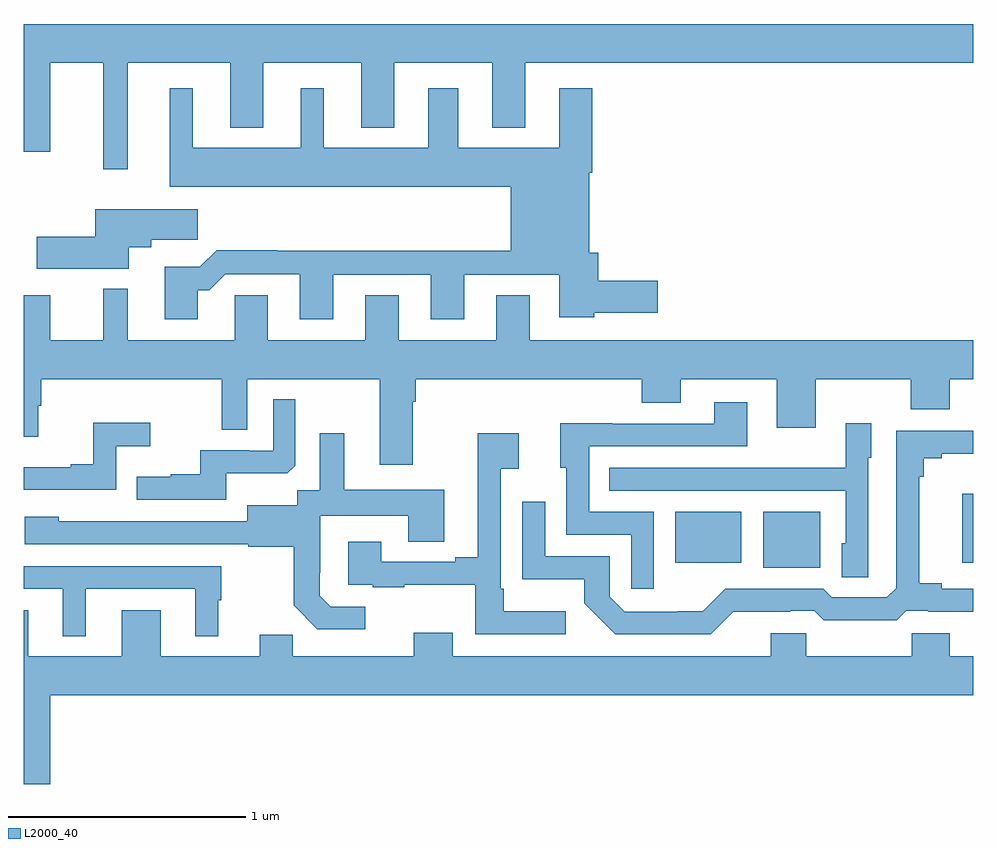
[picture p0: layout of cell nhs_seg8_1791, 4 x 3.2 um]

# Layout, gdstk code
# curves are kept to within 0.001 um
import gdstk
lib = gdstk.Library(unit=1e-6, precision=1e-09)
def R(c, l, rs):  # rectangles x0, y0, x1, y1
    for r in rs: c.add(gdstk.rectangle(r[:2], r[2:], *l))
def P(c, l, *ps):  # polygons
    for p in ps: c.add(gdstk.Polygon(p, *l))
L2000_40 = (2000, 40)

nhs_seg8_1791 = lib.new_cell('nhs_seg8_1791')
R(nhs_seg8_1791, L2000_40, [(228.116,1117.037,228.355,1117.273), (227.744,1117.058,228.022,1117.273), (228.953,1117.058,229,1117.348)])
P(nhs_seg8_1791, L2000_40, [(225.439,1119.164),(225.869,1119.164),(225.869,1118.891),(226.009,1118.891),(226.009,1119.164),(226.421,1119.164),(226.421,1118.891),(226.561,1118.891),(226.561,1119.164),(226.973,1119.164),(226.973,1118.891),(227.113,1118.891),(227.113,1119.164),(229,1119.164),(229,1119.328),(225,1119.328),(225,1118.79),(225.112,1118.79),(225.112,1119.164),(225.335,1119.164),(225.335,1118.715),(225.439,1118.715)],
  [(225.733,1118.207),(225.782,1118.207),(225.849,1118.274),(226.163,1118.274),(226.163,1118.085),(226.303,1118.085),(226.303,1118.271),(226.715,1118.271),(226.715,1118.085),(226.855,1118.085),(226.855,1118.271),(227.255,1118.271),(227.255,1118.093),(227.403,1118.093),(227.403,1118.111),(227.671,1118.111),(227.671,1118.246),(227.42,1118.246),(227.42,1118.364),(227.383,1118.364),(227.383,1118.702),(227.396,1118.702),(227.396,1119.058),(227.255,1119.058),(227.255,1118.806),(226.831,1118.806),(226.831,1119.058),(226.703,1119.058),(226.703,1118.806),(226.264,1118.806),(226.264,1119.058),(226.166,1119.058),(226.166,1118.806),(225.712,1118.806),(225.712,1119.058),(225.614,1119.058),(225.614,1118.642),(227.051,1118.642),(227.051,1118.372),(226.067,1118.372),(226.067,1118.375),(225.812,1118.375),(225.742,1118.305),(225.593,1118.305),(225.593,1118.085),(225.733,1118.085)],
  [(225.442,1118.387),(225.538,1118.387),(225.538,1118.419),(225.733,1118.419),(225.733,1118.548),(225.302,1118.548),(225.302,1118.432),(225.054,1118.432),(225.054,1118.297),(225.442,1118.297)],
  [(225.439,1118.212),(225.335,1118.212),(225.335,1117.996),(225.112,1117.996),(225.112,1118.185),(225,1118.185),(225,1117.59),(225.061,1117.59),(225.061,1117.719),(225.074,1117.719),(225.074,1117.832),(225.834,1117.832),(225.834,1117.618),(225.942,1117.618),(225.942,1117.832),(226.499,1117.832),(226.499,1117.47),(226.639,1117.47),(226.639,1117.736),(226.652,1117.736),(226.652,1117.832),(227.603,1117.832),(227.603,1117.733),(227.767,1117.733),(227.767,1117.832),(228.173,1117.832),(228.173,1117.626),(228.337,1117.626),(228.337,1117.832),(228.737,1117.832),(228.737,1117.704),(228.901,1117.704),(228.901,1117.832),(229,1117.832),(229,1117.996),(227.131,1117.996),(227.131,1118.186),(226.991,1118.186),(226.991,1117.996),(226.579,1117.996),(226.579,1118.186),(226.439,1118.186),(226.439,1117.996),(226.027,1117.996),(226.027,1118.186),(225.888,1118.186),(225.888,1117.996),(225.439,1117.996)],
  [(225.853,1117.436),(226.111,1117.436),(226.143,1117.467),(226.143,1117.747),(226.05,1117.747),(226.05,1117.53),(225.95,1117.53),(225.95,1117.533),(225.743,1117.533),(225.743,1117.432),(225.619,1117.432),(225.619,1117.42),(225.475,1117.42),(225.475,1117.323),(225.853,1117.323)],
  [(227.655,1117.272),(227.382,1117.272),(227.382,1117.548),(228.049,1117.548),(228.049,1117.735),(227.909,1117.735),(227.909,1117.644),(227.479,1117.644),(227.479,1117.646),(227.261,1117.646),(227.261,1117.458),(227.286,1117.458),(227.286,1117.176),(227.559,1117.176),(227.559,1116.948),(227.655,1116.948)],
  [(225.39,1117.55),(225.532,1117.55),(225.532,1117.649),(225.292,1117.649),(225.292,1117.474),(225.197,1117.474),(225.197,1117.461),(225,1117.461),(225,1117.365),(225.39,1117.365)],
  [(228.558,1117.5),(228.571,1117.5),(228.571,1117.645),(228.462,1117.645),(228.462,1117.459),(228.145,1117.459),(228.145,1117.458),(227.467,1117.458),(227.467,1117.362),(228.462,1117.362),(228.462,1117.14),(228.446,1117.14),(228.446,1116.997),(228.558,1116.997)],
  [(227.99,1116.851),(228.23,1116.851),(228.23,1116.855),(228.33,1116.855),(228.37,1116.816),(228.677,1116.816),(228.717,1116.855),(228.811,1116.855),(228.811,1116.851),(229,1116.851),(229,1116.948),(228.868,1116.948),(228.868,1116.971),(228.773,1116.971),(228.773,1117.421),(228.791,1117.421),(228.791,1117.498),(228.868,1117.498),(228.868,1117.517),(229,1117.517),(229,1117.614),(228.675,1117.614),(228.675,1116.951),(228.636,1116.912),(228.405,1116.912),(228.369,1116.948),(227.955,1116.948),(227.861,1116.854),(227.756,1116.854),(227.756,1116.852),(227.532,1116.852),(227.469,1116.915),(227.469,1117.086),(227.196,1117.086),(227.196,1117.315),(227.1,1117.315),(227.1,1116.989),(227.362,1116.989),(227.362,1116.887),(227.492,1116.756),(227.895,1116.756)],
  [(227.284,1116.853),(227.023,1116.853),(227.023,1116.949),(227.01,1116.949),(227.01,1117.454),(227.086,1117.454),(227.086,1117.603),(226.913,1117.603),(226.913,1117.081),(226.817,1117.081),(226.817,1117.062),(226.507,1117.062),(226.507,1117.147),(226.367,1117.147),(226.367,1116.966),(226.471,1116.966),(226.471,1116.954),(226.603,1116.954),(226.603,1116.965),(226.902,1116.965),(226.902,1116.756),(227.284,1116.756)],
  [(226.438,1116.873),(226.293,1116.873),(226.246,1116.92),(226.246,1117.015),(226.248,1117.015),(226.248,1117.256),(226.619,1117.256),(226.619,1117.147),(226.771,1117.147),(226.771,1117.366),(226.351,1117.366),(226.351,1117.603),(226.247,1117.603),(226.247,1117.364),(226.152,1117.364),(226.152,1117.3),(225.941,1117.3),(225.941,1117.233),(225.147,1117.234),(225.147,1117.252),(225.003,1117.252),(225.003,1117.137),(225.945,1117.137),(225.945,1117.125),(226.137,1117.125),(226.137,1116.879),(226.237,1116.779),(226.438,1116.779)],
  [(225.262,1116.948),(225.722,1116.948),(225.722,1116.749),(225.82,1116.749),(225.82,1116.9),(225.832,1116.9),(225.832,1117.044),(225,1117.044),(225,1116.948),(225.164,1116.948),(225.164,1116.749),(225.262,1116.749)],
  [(225.112,1116.5),(229,1116.5),(229,1116.664),(228.902,1116.664),(228.902,1116.762),(228.742,1116.762),(228.742,1116.664),(228.297,1116.664),(228.297,1116.762),(228.146,1116.762),(228.146,1116.664),(226.807,1116.664),(226.807,1116.763),(226.643,1116.763),(226.643,1116.664),(226.133,1116.664),(226.133,1116.755),(225.995,1116.755),(225.995,1116.664),(225.577,1116.664),(225.577,1116.859),(225.413,1116.859),(225.413,1116.664),(225.019,1116.664),(225.019,1116.859),(225,1116.859),(225,1116.126),(225.112,1116.126)])

lib.write_gds('nhs_seg8_1791.gds')
